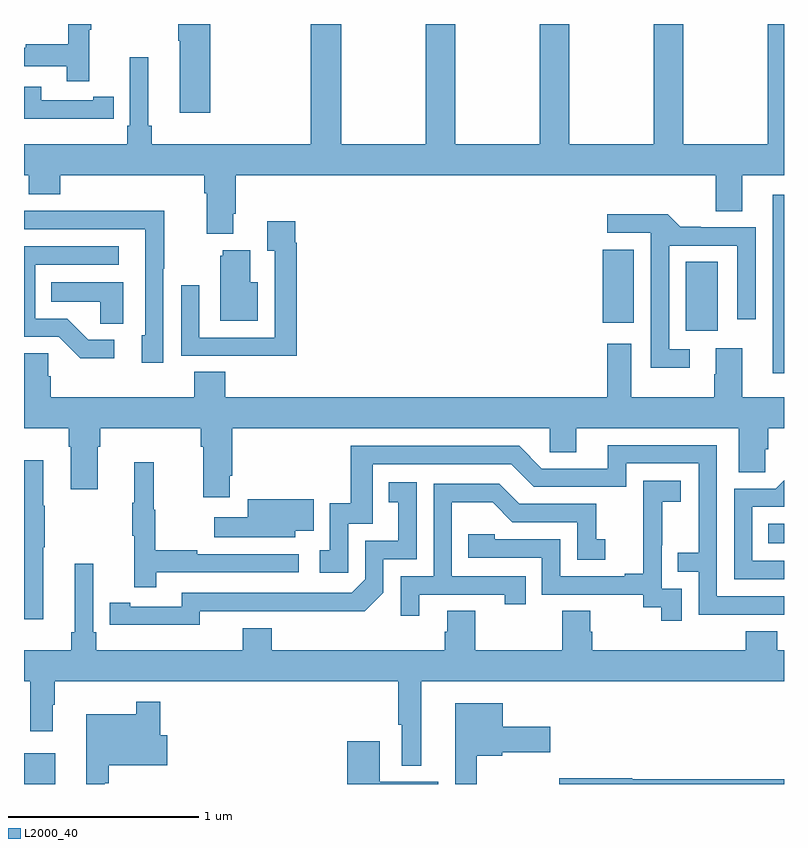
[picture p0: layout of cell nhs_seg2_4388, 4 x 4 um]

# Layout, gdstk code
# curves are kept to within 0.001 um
import gdstk
lib = gdstk.Library(unit=1e-6, precision=1e-09)
def R(c, l, rs):  # rectangles x0, y0, x1, y1
    for r in rs: c.add(gdstk.rectangle(r[:2], r[2:], *l))
def P(c, l, *ps):  # polygons
    for p in ps: c.add(gdstk.Polygon(p, *l))
L2000_40 = (2000, 40)

nhs_seg2_4388 = lib.new_cell('nhs_seg2_4388')
R(nhs_seg2_4388, L2000_40, [(349,609.8,349.165,609.961), (352.918,611.066,353,611.17), (352.94,611.961,353,612.901), (352.484,612.186,352.651,612.548), (352.046,612.227,352.21,612.613)])
P(nhs_seg2_4388, L2000_40, [(349.343,613.771),(349.354,613.771),(349.354,613.8),(349.233,613.8),(349.233,613.694),(349.009,613.694),(349.009,613.674),(349,613.674),(349,613.578),(349.225,613.578),(349.225,613.5),(349.343,613.5)],
  [(350.101,612.802),(350.114,612.802),(350.114,613.004),(352.64,613.004),(352.64,612.814),(352.78,612.814),(352.78,613.004),(353,613.004),(353,613.8),(352.915,613.8),(352.915,613.168),(352.47,613.168),(352.47,613.8),(352.315,613.8),(352.315,613.168),(351.87,613.168),(351.87,613.8),(351.715,613.8),(351.715,613.168),(351.27,613.168),(351.27,613.8),(351.115,613.8),(351.115,613.168),(350.67,613.168),(350.67,613.8),(350.51,613.8),(350.51,613.168),(349.673,613.168),(349.673,613.264),(349.654,613.264),(349.654,613.624),(349.557,613.624),(349.557,613.264),(349.544,613.264),(349.544,613.168),(349,613.168),(349,613.004),(349.025,613.004),(349.025,612.905),(349.19,612.905),(349.19,613.004),(349.949,613.004),(349.949,612.908),(349.961,612.908),(349.961,612.695),(350.101,612.695)],
  [(349.979,613.8),(349.813,613.8),(349.813,613.711),(349.82,613.711),(349.82,613.332),(349.979,613.332)],
  [(349.364,613.302),(349.472,613.302),(349.472,613.418),(349.364,613.418),(349.364,613.398),(349.092,613.398),(349.092,613.47),(349,613.47),(349,613.301),(349.364,613.301)],
  [(349.734,612.511),(349.737,612.511),(349.737,612.818),(349.273,612.818),(349.273,612.816),(349,612.816),(349,612.72),(349.638,612.72),(349.638,612.162),(349.619,612.162),(349.619,612.018),(349.734,612.018)],
  [(352.504,612.087),(352.395,612.087),(352.395,612.633),(352.755,612.633),(352.755,612.246),(352.851,612.246),(352.851,612.729),(352.561,612.729),(352.561,612.734),(352.453,612.734),(352.388,612.8),(352.071,612.8),(352.071,612.702),(352.299,612.702),(352.299,611.99),(352.504,611.99)],
  [(350.435,612.65),(350.428,612.65),(350.428,612.763),(350.279,612.763),(350.279,612.607),(350.319,612.607),(350.319,612.15),(349.923,612.15),(349.923,612.424),(349.827,612.424),(349.827,612.054),(350.143,612.054),(350.143,612.053),(350.435,612.053)],
  [(349.474,612.138),(349.339,612.138),(349.228,612.249),(349.059,612.249),(349.059,612.534),(349.498,612.534),(349.498,612.63),(349,612.63),(349,612.153),(349.182,612.153),(349.295,612.041),(349.474,612.041)],
  [(350.23,612.442),(350.191,612.442),(350.191,612.61),(350.045,612.61),(350.045,612.579),(350.033,612.579),(350.033,612.239),(350.23,612.239)],
  [(349.522,612.442),(349.144,612.442),(349.144,612.338),(349.401,612.338),(349.401,612.223),(349.522,612.223)],
  [(350.083,611.422),(350.096,611.422),(350.096,611.672),(351.768,611.672),(351.768,611.545),(351.907,611.545),(351.907,611.672),(352.763,611.672),(352.763,611.44),(352.902,611.44),(352.902,611.563),(352.916,611.563),(352.916,611.672),(353,611.672),(353,611.836),(352.78,611.836),(352.78,612.094),(352.64,612.094),(352.64,611.957),(352.633,611.957),(352.633,611.836),(352.195,611.836),(352.195,612.118),(352.07,612.118),(352.07,611.836),(350.06,611.836),(350.06,611.969),(349.895,611.969),(349.895,611.836),(349.142,611.836),(349.142,611.945),(349.128,611.945),(349.128,612.068),(349,612.068),(349,611.672),(349.235,611.672),(349.235,611.576),(349.247,611.576),(349.247,611.352),(349.387,611.352),(349.387,611.576),(349.4,611.576),(349.4,611.672),(349.931,611.672),(349.931,611.576),(349.943,611.576),(349.943,611.31),(350.083,611.31)],
  [(353,610.788),(352.647,610.788),(352.647,611.583),(352.073,611.583),(352.073,611.46),(351.726,611.46),(351.606,611.58),(350.719,611.58),(350.719,611.278),(350.61,611.278),(350.61,611.031),(350.556,611.031),(350.556,610.911),(350.706,610.911),(350.706,611.169),(350.835,611.169),(350.835,611.484),(351.564,611.484),(351.684,611.364),(352.17,611.364),(352.17,611.487),(352.551,611.487),(352.551,611.018),(352.441,611.018),(352.441,610.917),(352.551,610.917),(352.551,610.692),(353,610.692)],
  [(349.102,611.047),(349.11,611.047),(349.11,611.264),(349.102,611.264),(349.102,611.503),(349,611.503),(349,610.668),(349.102,610.668)],
  [(349.697,610.914),(350.446,610.914),(350.446,611.01),(349.913,611.01),(349.913,611.03),(349.69,611.03),(349.69,611.244),(349.682,611.244),(349.682,611.494),(349.58,611.494),(349.58,611.281),(349.569,611.281),(349.569,611.107),(349.58,611.107),(349.58,610.836),(349.697,610.836)],
  [(353,610.974),(352.833,610.974),(352.833,611.259),(353,611.259),(353,611.399),(352.956,611.355),(352.737,611.355),(352.737,610.878),(353,610.878)],
  [(352.461,610.827),(352.356,610.827),(352.356,611.057),(352.358,611.057),(352.358,611.285),(352.456,611.285),(352.456,611.395),(352.258,611.395),(352.258,611.189),(352.259,611.189),(352.259,610.906),(352.163,610.906),(352.163,610.893),(351.822,610.893),(351.822,611.088),(351.477,611.088),(351.477,611.115),(351.337,611.115),(351.337,610.992),(351.726,610.992),(351.726,610.797),(352.26,610.797),(352.26,610.729),(352.353,610.729),(352.353,610.659),(352.461,610.659)],
  [(349.926,610.71),(350.794,610.709),(350.892,610.806),(350.892,610.983),(351.066,610.983),(351.066,611.389),(350.92,611.389),(350.92,611.283),(350.969,611.283),(350.969,611.079),(350.796,611.079),(350.796,610.878),(350.724,610.806),(349.83,610.806),(349.83,610.734),(349.558,610.734),(349.558,610.754),(349.45,610.754),(349.45,610.638),(349.926,610.637)],
  [(351.079,610.797),(351.53,610.797),(351.53,610.746),(351.641,610.746),(351.641,610.893),(351.252,610.893),(351.252,611.282),(351.466,611.282),(351.57,611.178),(351.912,611.178),(351.912,610.98),(352.06,610.98),(352.06,611.089),(352.011,611.089),(352.011,611.274),(351.607,611.274),(351.502,611.379),(351.156,611.379),(351.156,610.893),(350.982,610.893),(350.982,610.686),(351.079,610.686)],
  [(350.428,611.132),(350.525,611.132),(350.525,611.298),(350.177,611.298),(350.177,611.203),(350.001,611.203),(350.001,611.099),(350.428,611.099)],
  [(351.091,610.34),(353,610.34),(353,610.504),(352.964,610.504),(352.964,610.603),(352.799,610.603),(352.799,610.504),(351.992,610.504),(351.992,610.602),(351.979,610.602),(351.979,610.712),(351.832,610.712),(351.832,610.504),(351.375,610.504),(351.375,610.712),(351.227,610.712),(351.227,610.602),(351.215,610.602),(351.215,610.504),(350.303,610.504),(350.303,610.621),(350.15,610.621),(350.15,610.504),(349.379,610.504),(349.379,610.6),(349.365,610.6),(349.365,610.96),(349.268,610.96),(349.268,610.6),(349.249,610.6),(349.249,610.504),(349,610.504),(349,610.34),(349.033,610.34),(349.033,610.077),(349.15,610.077),(349.15,610.217),(349.162,610.217),(349.162,610.34),(350.97,610.34),(350.97,610.111),(350.987,610.111),(350.987,609.896),(351.091,609.896)],
  [(349.425,609.803),(349.445,609.803),(349.445,609.899),(349.753,609.899),(349.753,610.057),(349.718,610.057),(349.718,610.234),(349.59,610.234),(349.59,610.168),(349.328,610.168),(349.328,609.8),(349.425,609.8)],
  [(351.383,609.95),(351.516,609.95),(351.516,609.968),(351.769,609.968),(351.769,610.102),(351.52,610.102),(351.52,610.225),(351.269,610.225),(351.269,609.8),(351.383,609.8)],
  [(351.181,609.811),(350.872,609.811),(350.872,610.024),(350.702,610.024),(350.702,609.8),(351.181,609.8)],
  [(353,609.824),(352.2,609.824),(352.2,609.83),(351.816,609.83),(351.816,609.8),(353,609.8)])

lib.write_gds('nhs_seg2_4388.gds')
